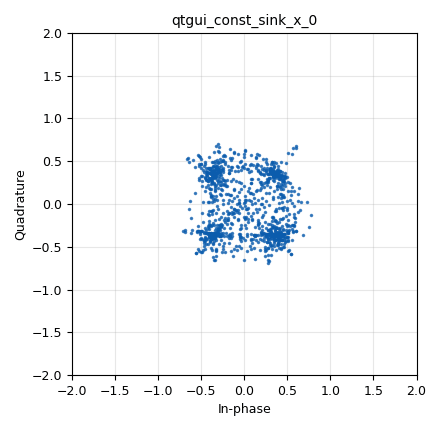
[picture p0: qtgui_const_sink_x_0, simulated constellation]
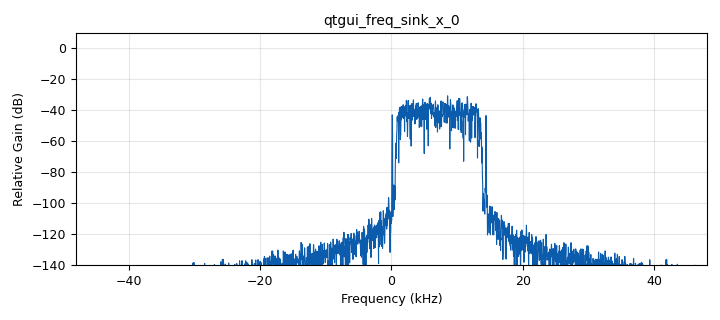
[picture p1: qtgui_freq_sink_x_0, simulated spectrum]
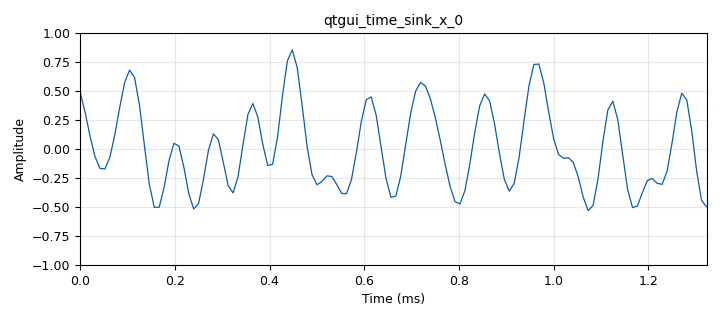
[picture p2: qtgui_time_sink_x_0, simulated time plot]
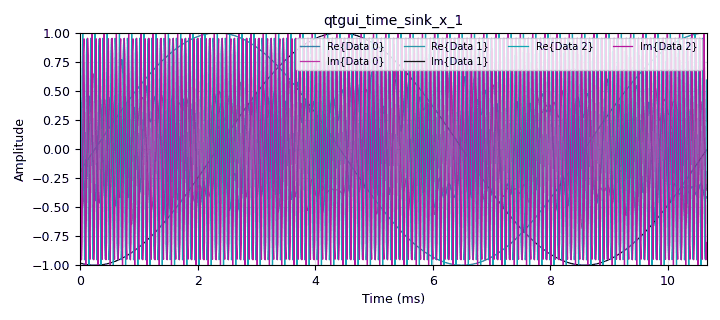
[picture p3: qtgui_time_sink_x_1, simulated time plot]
<?xml version='1.0' encoding='utf-8'?>
<?grc format='1' created='3.7.13'?>
<flow_graph>
<block>
<key>options</key>
<param><key>id</key><value>top_block</value></param>
<param><key>generate_options</key><value>qt_gui</value></param>
</block>
<block>
<key>variable</key>
<param><key>id</key><value>A_hi</value></param>
<param><key>value</key><value>.02</value></param>
</block>
<block>
<key>variable</key>
<param><key>id</key><value>A_lo</value></param>
<param><key>value</key><value>.02</value></param>
</block>
<block>
<key>variable</key>
<param><key>id</key><value>analog_bw</value></param>
<param><key>value</key><value>baud_rate*(1.0+excess_bw)</value></param>
</block>
<block>
<key>variable</key>
<param><key>id</key><value>baud_rate</value></param>
<param><key>value</key><value>samp_rate/sps</value></param>
</block>
<block>
<key>variable</key>
<param><key>id</key><value>bitrate</value></param>
<param><key>value</key><value>my_con.bits_per_symbol()*baud_rate</value></param>
</block>
<block>
<key>variable</key>
<param><key>id</key><value>excess_bw</value></param>
<param><key>value</key><value>.1</value></param>
</block>
<block>
<key>variable</key>
<param><key>id</key><value>fc</value></param>
<param><key>value</key><value>7200</value></param>
</block>
<block>
<key>variable</key>
<param><key>id</key><value>fmax</value></param>
<param><key>value</key><value>fc+analog_bw*.5</value></param>
</block>
<block>
<key>variable</key>
<param><key>id</key><value>fmin</value></param>
<param><key>value</key><value>fc-analog_bw*.5</value></param>
</block>
<block>
<key>variable</key>
<param><key>id</key><value>fpilot_high</value></param>
<param><key>value</key><value>baud_rate*1.2</value></param>
</block>
<block>
<key>variable</key>
<param><key>id</key><value>fpilot_low</value></param>
<param><key>value</key><value>baud_rate/100</value></param>
</block>
<block>
<key>variable</key>
<param><key>id</key><value>len_taps</value></param>
<param><key>value</key><value>len(rrc_taps)</value></param>
</block>
<block>
<key>variable</key>
<param><key>id</key><value>my_con</value></param>
<param><key>_enabled</key><value>0</value></param>
<param><key>value</key><value>digital.constellation_16qam().base()</value></param>
</block>
<block>
<key>variable</key>
<param><key>id</key><value>my_con</value></param>
<param><key>_enabled</key><value>0</value></param>
<param><key>value</key><value>digital.constellation_bpsk().base()</value></param>
</block>
<block>
<key>variable</key>
<param><key>id</key><value>my_con</value></param>
<param><key>value</key><value>digital.constellation_qpsk().base()</value></param>
</block>
<block>
<key>variable</key>
<param><key>id</key><value>my_con</value></param>
<param><key>_enabled</key><value>0</value></param>
<param><key>value</key><value>digital.qam_constellation(64).base()</value></param>
</block>
<block>
<key>variable</key>
<param><key>id</key><value>my_con</value></param>
<param><key>_enabled</key><value>0</value></param>
<param><key>value</key><value>digital.qam_constellation(256).base()</value></param>
</block>
<block>
<key>variable</key>
<param><key>id</key><value>my_con</value></param>
<param><key>_enabled</key><value>0</value></param>
<param><key>value</key><value>digital.qam_constellation(1024).base()</value></param>
</block>
<block>
<key>variable</key>
<param><key>id</key><value>nfilts</value></param>
<param><key>value</key><value>16</value></param>
</block>
<block>
<key>variable</key>
<param><key>id</key><value>ntaps</value></param>
<param><key>value</key><value>int(11*sps*nfilts)</value></param>
</block>
<block>
<key>variable</key>
<param><key>id</key><value>ntaps</value></param>
<param><key>_enabled</key><value>0</value></param>
<param><key>value</key><value>int(sps*nfilts*7)</value></param>
</block>
<block>
<key>variable</key>
<param><key>id</key><value>rrc_taps</value></param>
<param><key>value</key><value>firdes.root_raised_cosine(nfilts,1.0,1.0/(nfilts*sps), excess_bw, ntaps)</value></param>
</block>
<block>
<key>variable</key>
<param><key>id</key><value>samp_rate</value></param>
<param><key>value</key><value>96000</value></param>
</block>
<block>
<key>variable</key>
<param><key>id</key><value>snr</value></param>
<param><key>_enabled</key><value>0</value></param>
<param><key>value</key><value>50</value></param>
</block>
<block>
<key>variable</key>
<param><key>id</key><value>sps</value></param>
<param><key>value</key><value>8</value></param>
</block>
<block>
<key>variable</key>
<param><key>id</key><value>xpd</value></param>
<param><key>_enabled</key><value>0</value></param>
<param><key>value</key><value>30</value></param>
</block>
<block>
<key>analog_random_source_x</key>
<param><key>id</key><value>analog_random_source_x_0</value></param>
<param><key>max</key><value>256</value></param>
<param><key>min</key><value>0</value></param>
<param><key>num_samps</key><value>1000000</value></param>
<param><key>type</key><value>byte</value></param>
<param><key>repeat</key><value>True</value></param>
</block>
<block>
<key>analog_sig_source_x</key>
<param><key>id</key><value>analog_sig_source_x_0</value></param>
<param><key>amp</key><value>A_lo</value></param>
<param><key>freq</key><value>fpilot_low</value></param>
<param><key>offset</key><value>0</value></param>
<param><key>type</key><value>complex</value></param>
<param><key>samp_rate</key><value>samp_rate</value></param>
<param><key>waveform</key><value>analog.GR_COS_WAVE</value></param>
</block>
<block>
<key>analog_sig_source_x</key>
<param><key>id</key><value>analog_sig_source_x_0_0</value></param>
<param><key>amp</key><value>A_hi</value></param>
<param><key>freq</key><value>fpilot_high</value></param>
<param><key>offset</key><value>0</value></param>
<param><key>type</key><value>complex</value></param>
<param><key>samp_rate</key><value>samp_rate</value></param>
<param><key>waveform</key><value>analog.GR_COS_WAVE</value></param>
</block>
<block>
<key>audio_sink</key>
<param><key>id</key><value>audio_sink_0</value></param>
<param><key>device_name</key><value>stereo34</value></param>
<param><key>_enabled</key><value>0</value></param>
<param><key>num_inputs</key><value>2</value></param>
<param><key>samp_rate</key><value>samp_rate</value></param>
</block>
<block>
<key>blocks_add_xx</key>
<param><key>id</key><value>blocks_add_xx_0</value></param>
<param><key>type</key><value>complex</value></param>
<param><key>num_inputs</key><value>3</value></param>
</block>
<block>
<key>blocks_complex_to_real</key>
<param><key>id</key><value>blocks_complex_to_real_0</value></param>
</block>
<block>
<key>blocks_multiply_const_vxx</key>
<param><key>id</key><value>blocks_multiply_const_vxx_0</value></param>
<param><key>const</key><value>.5</value></param>
<param><key>type</key><value>complex</value></param>
</block>
<block>
<key>blocks_multiply_const_xx</key>
<param><key>id</key><value>blocks_multiply_const_xx_0</value></param>
<param><key>const</key><value>1./A_lo</value></param>
<param><key>type</key><value>complex</value></param>
</block>
<block>
<key>blocks_multiply_const_xx</key>
<param><key>id</key><value>blocks_multiply_const_xx_0_0</value></param>
<param><key>const</key><value>1./A_hi</value></param>
<param><key>type</key><value>complex</value></param>
</block>
<block>
<key>blocks_null_source</key>
<param><key>id</key><value>blocks_null_source_0</value></param>
<param><key>bus_conns</key><value>[[0,],]</value></param>
<param><key>_enabled</key><value>0</value></param>
<param><key>type</key><value>float</value></param>
</block>
<block>
<key>blocks_rotator_cc</key>
<param><key>id</key><value>blocks_rotator_cc_0</value></param>
<param><key>phase_inc</key><value>2*np.pi*fc/samp_rate</value></param>
</block>
<block>
<key>blocks_throttle</key>
<param><key>id</key><value>blocks_throttle_0</value></param>
<param><key>samples_per_second</key><value>samp_rate</value></param>
<param><key>type</key><value>complex</value></param>
</block>
<block>
<key>blocks_vector_source_x</key>
<param><key>id</key><value>blocks_vector_source_x_0</value></param>
<param><key>_enabled</key><value>0</value></param>
<param><key>type</key><value>byte</value></param>
<param><key>repeat</key><value>True</value></param>
<param><key>vector</key><value>(0, 3 ,2,1)</value></param>
</block>
<block>
<key>blocks_vector_source_x</key>
<param><key>id</key><value>blocks_vector_source_x_0_0</value></param>
<param><key>_enabled</key><value>0</value></param>
<param><key>type</key><value>byte</value></param>
<param><key>repeat</key><value>True</value></param>
<param><key>vector</key><value>(0, 0 ,0,1,0,1)</value></param>
</block>
<block>
<key>digital_constellation_modulator</key>
<param><key>id</key><value>digital_constellation_modulator_0</value></param>
<param><key>constellation</key><value>my_con</value></param>
<param><key>differential</key><value>False</value></param>
<param><key>excess_bw</key><value>excess_bw</value></param>
<param><key>samples_per_symbol</key><value>sps</value></param>
</block>
<block>
<key>iir_filter_xxx</key>
<param><key>id</key><value>iir_filter_xxx_0</value></param>
<param><key>_enabled</key><value>0</value></param>
<param><key>type</key><value>ccf</value></param>
</block>
<block>
<key>import</key>
<param><key>id</key><value>import_0</value></param>
<param><key>import</key><value>from gnuradio import digital</value></param>
</block>
<block>
<key>import</key>
<param><key>id</key><value>import_0_0</value></param>
<param><key>import</key><value>import numpy as np</value></param>
</block>
<block>
<key>qtgui_const_sink_x</key>
<param><key>id</key><value>qtgui_const_sink_x_0</value></param>
<param><key>gui_hint</key><value>tab@1</value></param>
<param><key>size</key><value>1024</value></param>
<param><key>type</key><value>complex</value></param>
</block>
<block>
<key>qtgui_freq_sink_x</key>
<param><key>id</key><value>qtgui_freq_sink_x_0</value></param>
<param><key>bw</key><value>samp_rate</value></param>
<param><key>fc</key><value>0</value></param>
<param><key>fftsize</key><value>4096</value></param>
<param><key>gui_hint</key><value>tab@3</value></param>
<param><key>showports</key><value>True</value></param>
<param><key>type</key><value>complex</value></param>
<param><key>wintype</key><value>firdes.WIN_BLACKMAN_hARRIS</value></param>
</block>
<block>
<key>qtgui_time_sink_x</key>
<param><key>id</key><value>qtgui_time_sink_x_0</value></param>
<param><key>gui_hint</key><value>tab@2</value></param>
<param><key>color1</key><value>"blue"</value></param>
<param><key>label1</key><value></value></param>
<param><key>size</key><value>sps*16</value></param>
<param><key>srate</key><value>samp_rate</value></param>
<param><key>type</key><value>float</value></param>
<param><key>update_time</key><value>1</value></param>
</block>
<block>
<key>qtgui_time_sink_x</key>
<param><key>id</key><value>qtgui_time_sink_x_1</value></param>
<param><key>gui_hint</key><value>tab@0</value></param>
<param><key>color1</key><value>"blue"</value></param>
<param><key>label1</key><value></value></param>
<param><key>color2</key><value>"red"</value></param>
<param><key>label2</key><value></value></param>
<param><key>color3</key><value>"green"</value></param>
<param><key>label3</key><value></value></param>
<param><key>color4</key><value>"black"</value></param>
<param><key>label4</key><value></value></param>
<param><key>color5</key><value>"cyan"</value></param>
<param><key>label5</key><value></value></param>
<param><key>color6</key><value>"magenta"</value></param>
<param><key>label6</key><value></value></param>
<param><key>nconnections</key><value>3</value></param>
<param><key>size</key><value>1024</value></param>
<param><key>srate</key><value>samp_rate</value></param>
<param><key>type</key><value>complex</value></param>
</block>
<block>
<key>qtgui_waterfall_sink_x</key>
<param><key>id</key><value>qtgui_waterfall_sink_x_0</value></param>
<param><key>bw</key><value>samp_rate</value></param>
<param><key>fc</key><value>0</value></param>
<param><key>_enabled</key><value>0</value></param>
<param><key>fftsize</key><value>4096</value></param>
<param><key>gui_hint</key><value>tab@3</value></param>
<param><key>showports</key><value>True</value></param>
<param><key>type</key><value>complex</value></param>
<param><key>wintype</key><value>firdes.WIN_BLACKMAN_hARRIS</value></param>
</block>
<block>
<key>qtgui_waterfall_sink_x</key>
<param><key>id</key><value>qtgui_waterfall_sink_x_0_0</value></param>
<param><key>bw</key><value>samp_rate</value></param>
<param><key>fc</key><value>0</value></param>
<param><key>_enabled</key><value>0</value></param>
<param><key>fftsize</key><value>4096</value></param>
<param><key>showports</key><value>True</value></param>
<param><key>freqhalf</key><value>False</value></param>
<param><key>type</key><value>float</value></param>
<param><key>wintype</key><value>firdes.WIN_BLACKMAN_hARRIS</value></param>
</block>
<block>
<key>qtgui_tab_widget</key>
<param><key>id</key><value>tab</value></param>
<param><key>gui_hint</key><value>1,1,1,4</value></param>
<param><key>label0</key><value>BB timeplot</value></param>
<param><key>label1</key><value>BB constellation</value></param>
<param><key>label2</key><value>Tape timeplot</value></param>
<param><key>label3</key><value>Tape spectrum</value></param>
<param><key>num_tabs</key><value>4</value></param>
</block>
<connection><source_block_id>analog_random_source_x_0</source_block_id><sink_block_id>digital_constellation_modulator_0</sink_block_id><source_key>0</source_key><sink_key>0</sink_key></connection>
<connection><source_block_id>analog_sig_source_x_0</source_block_id><sink_block_id>blocks_add_xx_0</sink_block_id><source_key>0</source_key><sink_key>1</sink_key></connection>
<connection><source_block_id>analog_sig_source_x_0</source_block_id><sink_block_id>blocks_multiply_const_xx_0</sink_block_id><source_key>0</source_key><sink_key>0</sink_key></connection>
<connection><source_block_id>analog_sig_source_x_0_0</source_block_id><sink_block_id>blocks_add_xx_0</sink_block_id><source_key>0</source_key><sink_key>2</sink_key></connection>
<connection><source_block_id>analog_sig_source_x_0_0</source_block_id><sink_block_id>blocks_multiply_const_xx_0_0</sink_block_id><source_key>0</source_key><sink_key>0</sink_key></connection>
<connection><source_block_id>blocks_add_xx_0</source_block_id><sink_block_id>blocks_complex_to_real_0</sink_block_id><source_key>0</source_key><sink_key>0</sink_key></connection>
<connection><source_block_id>blocks_add_xx_0</source_block_id><sink_block_id>qtgui_freq_sink_x_0</sink_block_id><source_key>0</source_key><sink_key>0</sink_key></connection>
<connection><source_block_id>blocks_add_xx_0</source_block_id><sink_block_id>qtgui_waterfall_sink_x_0</sink_block_id><source_key>0</source_key><sink_key>0</sink_key></connection>
<connection><source_block_id>blocks_complex_to_real_0</source_block_id><sink_block_id>qtgui_time_sink_x_0</sink_block_id><source_key>0</source_key><sink_key>0</sink_key></connection>
<connection><source_block_id>blocks_multiply_const_vxx_0</source_block_id><sink_block_id>blocks_rotator_cc_0</sink_block_id><source_key>0</source_key><sink_key>0</sink_key></connection>
<connection><source_block_id>blocks_multiply_const_vxx_0</source_block_id><sink_block_id>qtgui_const_sink_x_0</sink_block_id><source_key>0</source_key><sink_key>0</sink_key></connection>
<connection><source_block_id>blocks_multiply_const_vxx_0</source_block_id><sink_block_id>qtgui_time_sink_x_1</sink_block_id><source_key>0</source_key><sink_key>0</sink_key></connection>
<connection><source_block_id>blocks_multiply_const_xx_0</source_block_id><sink_block_id>qtgui_time_sink_x_1</sink_block_id><source_key>0</source_key><sink_key>1</sink_key></connection>
<connection><source_block_id>blocks_multiply_const_xx_0_0</source_block_id><sink_block_id>qtgui_time_sink_x_1</sink_block_id><source_key>0</source_key><sink_key>2</sink_key></connection>
<connection><source_block_id>blocks_null_source_0</source_block_id><sink_block_id>audio_sink_0</sink_block_id><source_key>0</source_key><sink_key>1</sink_key></connection>
<connection><source_block_id>blocks_rotator_cc_0</source_block_id><sink_block_id>blocks_add_xx_0</sink_block_id><source_key>0</source_key><sink_key>0</sink_key></connection>
<connection><source_block_id>blocks_throttle_0</source_block_id><sink_block_id>blocks_multiply_const_vxx_0</sink_block_id><source_key>0</source_key><sink_key>0</sink_key></connection>
<connection><source_block_id>blocks_vector_source_x_0</source_block_id><sink_block_id>digital_constellation_modulator_0</sink_block_id><source_key>0</source_key><sink_key>0</sink_key></connection>
<connection><source_block_id>blocks_vector_source_x_0_0</source_block_id><sink_block_id>digital_constellation_modulator_0</sink_block_id><source_key>0</source_key><sink_key>0</sink_key></connection>
<connection><source_block_id>digital_constellation_modulator_0</source_block_id><sink_block_id>blocks_throttle_0</sink_block_id><source_key>0</source_key><sink_key>0</sink_key></connection>
</flow_graph>
